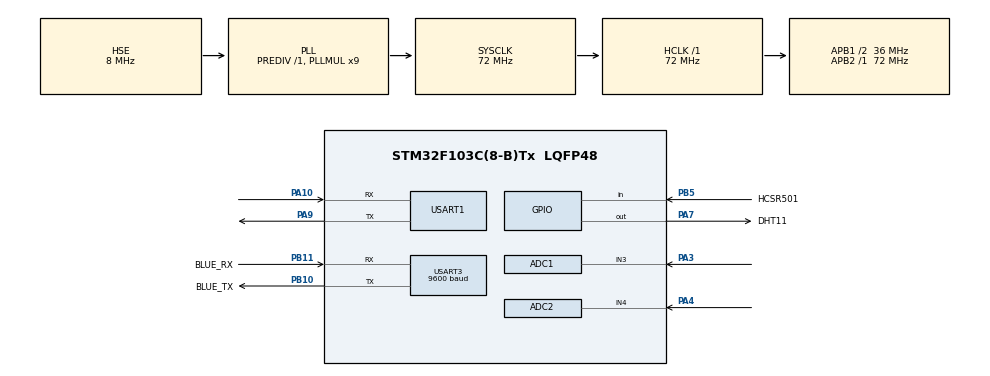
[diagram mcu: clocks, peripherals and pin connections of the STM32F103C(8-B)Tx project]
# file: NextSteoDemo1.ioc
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ADC1.Channel-0\#ChannelRegularConversion=ADC_CHANNEL_3
ADC1.NbrOfConversionFlag=1
ADC1.Rank-0\#ChannelRegularConversion=1
ADC1.SamplingTime-0\#ChannelRegularConversion=ADC_SAMPLETIME_1CYCLE_5
ADC1.master=1
ADC2.Channel-1\#ChannelRegularConversion=ADC_CHANNEL_4
ADC2.NbrOfConversionFlag=1
ADC2.Rank-1\#ChannelRegularConversion=1
ADC2.SamplingTime-1\#ChannelRegularConversion=ADC_SAMPLETIME_1CYCLE_5
Mcu.Family=STM32F1
Mcu.Name=STM32F103C(8-B)Tx
Mcu.Package=LQFP48
NVIC.PriorityGroup=NVIC_PRIORITYGROUP_4
NVIC.USART3_IRQn=true\:0\:0\:false\:false\:true\:true\:true\:true
PA10.Mode=Asynchronous
PA10.Signal=USART1_RX
PA13.Mode=Serial_Wire
PA13.Signal=SYS_JTMS-SWDIO
PA14.Mode=Serial_Wire
PA14.Signal=SYS_JTCK-SWCLK
PA3.Signal=ADCx_IN3
PA4.Signal=ADCx_IN4
PA7.GPIO_Label=DHT11
PA7.GPIO_PuPd=GPIO_NOPULL
PA7.Signal=GPIO_Output
PA9.Mode=Asynchronous
PA9.Signal=USART1_TX
PB10.GPIO_Label=BLUE_TX
PB10.Mode=Asynchronous
PB10.Signal=USART3_TX
PB11.GPIO_Label=BLUE_RX
PB11.Mode=Asynchronous
PB11.Signal=USART3_RX
PB5.GPIO_Label=HCSR501
PB5.Signal=GPIO_Input
PD0-OSC_IN.Mode=HSE-External-Oscillator
PD0-OSC_IN.Signal=RCC_OSC_IN
PD1-OSC_OUT.Mode=HSE-External-Oscillator
PD1-OSC_OUT.Signal=RCC_OSC_OUT
ProjectManager.HeapSize=0x200
ProjectManager.StackSize=0x400
ProjectManager.TargetToolchain=CMake
RCC.ADCPresc=RCC_ADCPCLK2_DIV6
RCC.AHBFreq_Value=72000000
RCC.APB1CLKDivider=RCC_HCLK_DIV2
RCC.APB1Freq_Value=36000000
RCC.APB1TimFreq_Value=72000000
RCC.APB2Freq_Value=72000000
RCC.APB2TimFreq_Value=72000000
RCC.HCLKFreq_Value=72000000
RCC.PLLMUL=RCC_PLL_MUL9
RCC.PLLSourceVirtual=RCC_PLLSOURCE_HSE
RCC.SYSCLKFreq_VALUE=72000000
RCC.SYSCLKSource=RCC_SYSCLKSOURCE_PLLCLK
RCC.USBFreq_Value=72000000
SH.ADCx_IN3.0=ADC1_IN3,IN3
SH.ADCx_IN4.0=ADC2_IN4,IN4
USART1.VirtualMode=VM_ASYNC
USART3.BaudRate=9600
USART3.VirtualMode=VM_ASYNC
board=custom

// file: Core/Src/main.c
/* USER CODE BEGIN Header */
/**
  ******************************************************************************
  * @file           : main.c
  * @brief          : Main program body
  ******************************************************************************
  * @attention
  *
  * Copyright (c) 2026 STMicroelectronics.
  * All rights reserved.
  *
  * This software is licensed under terms that can be found in the LICENSE file
  * in the root directory of this software component.
  * If no LICENSE file comes with this software, it is provided AS-IS.
  *
  ******************************************************************************
  */
/* USER CODE END Header */
#include "main.h"

/* USER CODE BEGIN Includes */
#include "dht11.h"
#include "MQ135.h"
#include "sound.h"
#include "stm32f1xx_hal_gpio.h"
#include <stdio.h>
#include <string.h>
/* USER CODE END Includes */

ADC_HandleTypeDef hadc1;
ADC_HandleTypeDef hadc2;

UART_HandleTypeDef huart1;
UART_HandleTypeDef huart3;

void SystemClock_Config(void);
static void MX_GPIO_Init(void);
static void MX_USART1_UART_Init(void);
static void MX_ADC1_Init(void);
static void MX_ADC2_Init(void);
static void MX_USART3_UART_Init(void);

/* USER CODE BEGIN 0 */
uint8_t temperature = 1;  //温度
uint8_t humidity = 1;     //湿度

uint8_t aTXbuf[128];       //串口发送缓存数组
/* USER CODE END 0 */

int main(void)
{

  /* MCU Configuration--------------------------------------------------------*/

  /* Reset of all peripherals, Initializes the Flash interface and the Systick. */
  HAL_Init();

  /* Configure the system clock */
  SystemClock_Config();

  /* Initialize all configured peripherals */
  MX_GPIO_Init();
  MX_USART1_UART_Init();
  MX_ADC1_Init();
  MX_ADC2_Init();
  MX_USART3_UART_Init();
  /* USER CODE BEGIN 2 */
  DHT11_Init();

  /* USER CODE END 2 */

  /* Infinite loop */
  /* USER CODE BEGIN WHILE */
  while (1)
  {
    // 1. 统一读取所有传感器数据

      // 读取温湿度 (原样保留你的读取逻辑)
      uint8_t dht_status = DHT11_Read_Data(&temperature, &humidity);

      // 读取 MQ135 (转毫伏)
      uint16_t mq135_raw = MQ135_ReadRaw();
      uint16_t mq135_mv = (uint16_t)(MQ135_ReadVoltage() * 1000);

      // 读取人体红外 (转换为 1 或 0)
      uint8_t motion_flag = 0;
      if (HAL_GPIO_ReadPin(GPIOB, GPIO_PIN_5) == GPIO_PIN_SET)
      {
          motion_flag = 1;
      }

      // 读取声音分贝
      Sound_Update_dB();
      uint16_t db_int = (uint16_t)db_value;

      // 2. 统一打包为 JSON 字符串格式
      // 注意：末尾一定要加 \n，这是上位机区分每一帧数据的换行标志
      if (dht_status == 0)
      {
          sprintf((char*)aTXbuf, "{\"temp\":%d, \"humi\":%d, \"mq135_adc\":%d, \"mq135_mv\":%d, \"motion\":%d, \"sound_db\":%d}\n",
                  temperature, humidity, mq135_raw, mq135_mv, motion_flag, db_int);
      }
      else
      {
          // 如果 DHT11 报错，可以发一个带 error 字段的 JSON
          sprintf((char*)aTXbuf, "{\"error\": \"DHT11_Failed\", \"mq135_adc\":%d, \"motion\":%d, \"sound_db\":%d}\n",
                  mq135_raw, motion_flag, db_int);
      }

      // 3. 一次性发送到串口
      //串口
      HAL_UART_Transmit(&huart1, aTXbuf, strlen((const char*)aTXbuf), 500);
      //蓝牙
      HAL_UART_Transmit(&huart3, aTXbuf, strlen((const char*)aTXbuf), 500);

      // 4. 统一延时 (维持 2 秒左右的采样率)
      HAL_Delay(1950);

    /*
  //==========================温湿度读取================================
    if (DHT11_Read_Data(&temperature, &humidity) == 0)
  {
      sprintf((char *)aTXbuf, "Temp:%d C, Humi:%d %%\r\n", temperature, humidity);
  }
  else
  {
      //sprintf((char *)aTXbuf, "DHT11 read failed\r\n");
  }

  HAL_UART_Transmit(&huart1, aTXbuf, strlen((const char *)aTXbuf), 200);
  HAL_Delay(2000);
  //==========================空气质量读取================================
  uint16_t mq135_raw = MQ135_ReadRaw();
      float mq135_vol_f = MQ135_ReadVoltage();

      // 浮点数转毫伏(mV)整数，避开部分单片机 printf 不支持 %f 的坑
      uint16_t mq135_mv = (uint16_t)(mq135_vol_f * 1000);

      // 覆盖之前的 aTXbuf 缓冲区，存入 MQ135 数据
      sprintf((char*)aTXbuf, "[MQ135] Raw ADC:%d, Voltage:%d mV\r\n", mq135_raw, mq135_mv);

      // 发送 MQ135 数据
      HAL_UART_Transmit(&huart1, aTXbuf, strlen((const char*)aTXbuf), 500);
      HAL_Delay(2000);  // 延时 2 秒，避免发送过快
      //=======================人体红外传感器读取=========================
      GPIO_PinState motion_state = HAL_GPIO_ReadPin(GPIOB, GPIO_PIN_5); // 假设 HCSR501 连接在 GPIOB 的 PIN5
      if (motion_state == GPIO_PIN_SET)
      {
          sprintf((char*)aTXbuf, "[HCSR501] Motion Detected: YES (Someone is here!)\r\n");
      }
      else
      {
          sprintf((char*)aTXbuf, "[HCSR501] Motion Detected: NO (Clear)\r\n");
      }
      HAL_UART_Transmit(&huart1, aTXbuf, strlen((const char*)aTXbuf), 500);
      HAL_Delay(2000);  // 延时 2 秒，避免发送过快
      //=======================声音传感器读取=========================
      Sound_Update_dB(); // 耗时 50ms 更新数据

      // 注意：printf 打印浮点数可能需要环境支持，如果你的环境打不出 %f，可以转成整数
      uint16_t db_int = (uint16_t)db_value;
      sprintf((char*)aTXbuf, "[SOUND] Level: %d dB\r\n", db_int);
      HAL_UART_Transmit(&huart1, aTXbuf, strlen((const char*)aTXbuf), 500);

      sprintf((char*)aTXbuf, "------------------------\r\n");
      HAL_UART_Transmit(&huart1, aTXbuf, strlen((const char*)aTXbuf), 500);

      HAL_Delay(1950); // 扣除声音采样的 50ms，维持约 2 秒总周期

      */
    /* USER CODE END WHILE */

  }
}

void SystemClock_Config(void)
{
  RCC_OscInitTypeDef RCC_OscInitStruct = {0};
  RCC_ClkInitTypeDef RCC_ClkInitStruct = {0};
  RCC_PeriphCLKInitTypeDef PeriphClkInit = {0};

  /** Initializes the RCC Oscillators according to the specified parameters
  * in the RCC_OscInitTypeDef structure.
  */
  RCC_OscInitStruct.OscillatorType = RCC_OSCILLATORTYPE_HSE;
  RCC_OscInitStruct.HSEState = RCC_HSE_ON;
  RCC_OscInitStruct.HSEPredivValue = RCC_HSE_PREDIV_DIV1;
  RCC_OscInitStruct.HSIState = RCC_HSI_ON;
  RCC_OscInitStruct.PLL.PLLState = RCC_PLL_ON;
  RCC_OscInitStruct.PLL.PLLSource = RCC_PLLSOURCE_HSE;
  RCC_OscInitStruct.PLL.PLLMUL = RCC_PLL_MUL9;
  if (HAL_RCC_OscConfig(&RCC_OscInitStruct) != HAL_OK)
  {
    Error_Handler();
  }

  /** Initializes the CPU, AHB and APB buses clocks
  */
  RCC_ClkInitStruct.ClockType = RCC_CLOCKTYPE_HCLK|RCC_CLOCKTYPE_SYSCLK
                              |RCC_CLOCKTYPE_PCLK1|RCC_CLOCKTYPE_PCLK2;
  RCC_ClkInitStruct.SYSCLKSource = RCC_SYSCLKSOURCE_PLLCLK;
  RCC_ClkInitStruct.AHBCLKDivider = RCC_SYSCLK_DIV1;
  RCC_ClkInitStruct.APB1CLKDivider = RCC_HCLK_DIV2;
  RCC_ClkInitStruct.APB2CLKDivider = RCC_HCLK_DIV1;

  if (HAL_RCC_ClockConfig(&RCC_ClkInitStruct, FLASH_LATENCY_2) != HAL_OK)
  {
    Error_Handler();
  }
  PeriphClkInit.PeriphClockSelection = RCC_PERIPHCLK_ADC;
  PeriphClkInit.AdcClockSelection = RCC_ADCPCLK2_DIV6;
  if (HAL_RCCEx_PeriphCLKConfig(&PeriphClkInit) != HAL_OK)
  {
    Error_Handler();
  }
}

static void MX_ADC1_Init(void)
{

  ADC_ChannelConfTypeDef sConfig = {0};

  /** Common config
  */
  hadc1.Instance = ADC1;
  hadc1.Init.ScanConvMode = ADC_SCAN_DISABLE;
  hadc1.Init.ContinuousConvMode = DISABLE;
  hadc1.Init.DiscontinuousConvMode = DISABLE;
  hadc1.Init.ExternalTrigConv = ADC_SOFTWARE_START;
  hadc1.Init.DataAlign = ADC_DATAALIGN_RIGHT;
  hadc1.Init.NbrOfConversion = 1;
  if (HAL_ADC_Init(&hadc1) != HAL_OK)
  {
    Error_Handler();
  }

  /** Configure Regular Channel
  */
  sConfig.Channel = ADC_CHANNEL_3;
  sConfig.Rank = ADC_REGULAR_RANK_1;
  sConfig.SamplingTime = ADC_SAMPLETIME_1CYCLE_5;
  if (HAL_ADC_ConfigChannel(&hadc1, &sConfig) != HAL_OK)
  {
    Error_Handler();
  }

}

static void MX_ADC2_Init(void)
{

  ADC_ChannelConfTypeDef sConfig = {0};

  /** Common config
  */
  hadc2.Instance = ADC2;
  hadc2.Init.ScanConvMode = ADC_SCAN_DISABLE;
  hadc2.Init.ContinuousConvMode = DISABLE;
  hadc2.Init.DiscontinuousConvMode = DISABLE;
  hadc2.Init.ExternalTrigConv = ADC_SOFTWARE_START;
  hadc2.Init.DataAlign = ADC_DATAALIGN_RIGHT;
  hadc2.Init.NbrOfConversion = 1;
  if (HAL_ADC_Init(&hadc2) != HAL_OK)
  {
    Error_Handler();
  }

  /** Configure Regular Channel
  */
  sConfig.Channel = ADC_CHANNEL_4;
  sConfig.Rank = ADC_REGULAR_RANK_1;
  sConfig.SamplingTime = ADC_SAMPLETIME_1CYCLE_5;
  if (HAL_ADC_ConfigChannel(&hadc2, &sConfig) != HAL_OK)
  {
    Error_Handler();
  }

}

static void MX_USART1_UART_Init(void)
{

  huart1.Instance = USART1;
  huart1.Init.BaudRate = 115200;
  huart1.Init.WordLength = UART_WORDLENGTH_8B;
  huart1.Init.StopBits = UART_STOPBITS_1;
  huart1.Init.Parity = UART_PARITY_NONE;
  huart1.Init.Mode = UART_MODE_TX_RX;
  huart1.Init.HwFlowCtl = UART_HWCONTROL_NONE;
  huart1.Init.OverSampling = UART_OVERSAMPLING_16;
  if (HAL_UART_Init(&huart1) != HAL_OK)
  {
    Error_Handler();
  }

}

static void MX_USART3_UART_Init(void)
{

  huart3.Instance = USART3;
  huart3.Init.BaudRate = 9600;
  huart3.Init.WordLength = UART_WORDLENGTH_8B;
  huart3.Init.StopBits = UART_STOPBITS_1;
  huart3.Init.Parity = UART_PARITY_NONE;
  huart3.Init.Mode = UART_MODE_TX_RX;
  huart3.Init.HwFlowCtl = UART_HWCONTROL_NONE;
  huart3.Init.OverSampling = UART_OVERSAMPLING_16;
  if (HAL_UART_Init(&huart3) != HAL_OK)
  {
    Error_Handler();
  }

}

static void MX_GPIO_Init(void)
{
  GPIO_InitTypeDef GPIO_InitStruct = {0};

  /* GPIO Ports Clock Enable */
  __HAL_RCC_GPIOD_CLK_ENABLE();
  __HAL_RCC_GPIOA_CLK_ENABLE();
  __HAL_RCC_GPIOB_CLK_ENABLE();

  /*Configure GPIO pin Output Level */
  HAL_GPIO_WritePin(DHT11_GPIO_Port, DHT11_Pin, GPIO_PIN_RESET);

  /*Configure GPIO pin : DHT11_Pin */
  GPIO_InitStruct.Pin = DHT11_Pin;
  GPIO_InitStruct.Mode = GPIO_MODE_OUTPUT_PP;
  GPIO_InitStruct.Pull = GPIO_NOPULL;
  GPIO_InitStruct.Speed = GPIO_SPEED_FREQ_LOW;
  HAL_GPIO_Init(DHT11_GPIO_Port, &GPIO_InitStruct);

  /*Configure GPIO pin : HCSR501_Pin */
  GPIO_InitStruct.Pin = HCSR501_Pin;
  GPIO_InitStruct.Mode = GPIO_MODE_INPUT;
  GPIO_InitStruct.Pull = GPIO_NOPULL;
  HAL_GPIO_Init(HCSR501_GPIO_Port, &GPIO_InitStruct);

}

void Error_Handler(void)
{
  __disable_irq();
  while (1)
  {
  }
}
